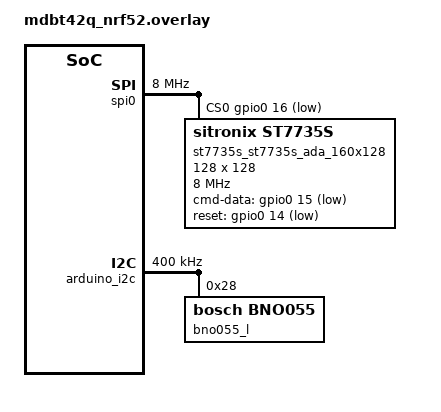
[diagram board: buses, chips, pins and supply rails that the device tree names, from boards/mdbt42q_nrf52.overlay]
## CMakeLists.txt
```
#-------------------------------------------------------------------------------
# Zephyr Example Application
#
# Copyright (c) 2021 Nordic Semiconductor ASA
# SPDX-License-Identifier: Apache-2.0

cmake_minimum_required(VERSION 3.13.1)
find_package(Zephyr REQUIRED HINTS $ENV{ZEPHYR_BASE})

project(app LANGUAGES C)

target_sources(app PRIVATE src/main.c)

#set(LVGL_DIR ${ZEPHYR_LVGL_MODULE_DIR})
```

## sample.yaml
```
# This file is provided so that the application can be compiled using Twister,
# the Zephyr testing tool. In this file, multiple combinations can be specified,
# so that you can easily test all of them locally or in CI.
sample:
  description: HUD application
  name: hud-nordic 
common:
  build_only: true
  integration_platforms:
    - mdbt42q_nrf52
  # modules:
  #   - lvgl
tests:
  app.default: {}
  # app.debug:
  #   extra_overlay_confs:
  #     - debug.conf
```

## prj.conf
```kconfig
# Copyright (c) 2021 Nordic Semiconductor ASA
# SPDX-License-Identifier: Apache-2.0
#
# This file contains selected Kconfig options for the application.
CONFIG_BOARD_ENABLE_DCDC=n
CONFIG_CLOCK_CONTROL_NRF_K32SRC_RC=y
# 500PPM enabled by default if RC selected
#CONFIG_CLOCK_CONTROL_NRF_K32SRC_500PPM=y

#CONFIG_GPIO = y

# Enable System reboot functionality
CONFIG_REBOOT=y

# CONFIG_LOG=y
# CONFIG_APP_LOG_LEVEL_DBG=y
# CONFIG_SERIAL=y
# CONFIG_CONSOLE=y
# CONFIG_UART_CONSOLE=y

CONFIG_DEBUG=y

#16384 8192
CONFIG_MAIN_STACK_SIZE=2048
CONFIG_SYSTEM_WORKQUEUE_STACK_SIZE=2048

#CONFIG_SENSOR=y
#CONFIG_BLINK=y
CONFIG_I2C=y
CONFIG_SENSOR=y
CONFIG_BNO055=y

CONFIG_SPI=y
CONFIG_SPI_SLAVE=n

CONFIG_SPI_NRFX=y

CONFIG_ST7735S=y
CONFIG_DISPLAY=y

CONFIG_LV_CONF_MINIMAL=y
CONFIG_LVGL=y
#CONFIG_LV_Z_BITS_PER_PIXEL=16

CONFIG_LV_MEM_CUSTOM=y
#2048 default 8192 16384
CONFIG_LV_Z_MEM_POOL_SIZE=4096

#CONFIG_LV_USE_LOG=y
CONFIG_LV_USE_LABEL=y
CONFIG_LV_USE_LINE=y
#CONFIG_LV_FONT_MONTSERRAT_24=y
#CONFIG_LV_FONT_DEFAULT_MONTSERRAT_24=y
CONFIG_LV_FONT_MONTSERRAT_14=y
CONFIG_LV_FONT_DEFAULT_MONTSERRAT_14=y
CONFIG_LV_DISP_DEF_REFR_PERIOD=50
#CONFIG_LV_COLOR_DEPTH=32
CONFIG_LV_USE_CANVAS=y
#CONFIG_LV_MEM_SIZE=(48U * 1024U)
#CONFIG_LV_USE_LOG=y
#CONFIG_LV_LOG_LEVEL_INFO=y

CONFIG_LV_COMPASS=y
#CONFIG_LV_COMPASS_GET_VALUE_DEFAULT=44

CONFIG_LV_PITCH_LADDER=y
```

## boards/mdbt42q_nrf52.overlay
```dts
/*
 * Copyright (c) 2021 Nordic Semiconductor ASA
 * SPDX-License-Identifier: Apache-2.0
 */

/* This devicetree overlay file will be automatically picked by the Zephyr
 * build system when building the sample for the mdbt42q board. It shows
 * how the example-application can be built on sample boards already provided
 * by Zephyr.
 */
/*
 / {
	chosen {
		zephyr,display = &st7735r_st7735r_ada_160x128;
	};
 };

&spi0 {
	cs-gpios = <&gpio0 16 GPIO_ACTIVE_LOW>;
	clock-frequency = <DT_FREQ_M(3)>;
	st7735r_st7735r_ada_160x128: st7735r@0 {
		compatible = "sitronix,st7735r";
		spi-max-frequency = <DT_FREQ_M(3)>;
		cmd-data-gpios = <&gpio0 15 GPIO_ACTIVE_LOW>;
		reset-gpios = <&gpio0 14 GPIO_ACTIVE_LOW>;
		reg = <0>;
		width = <128>;
		height = <128>;
	};
};
*/
//#include <zephyr/dt-bindings/mipi_dbi/mipi_dbi.h>
/*
/ {
	chosen {
		zephyr,display = &st7735r_st7735r_ada_160x128;
	};
};

arduino_spi: &spi0 {
	compatible = "nordic,nrf-spi";
	//compatible = "nordic,nrf-spim";
	status = "okay";
	cs-gpios = <&gpio0 16 GPIO_ACTIVE_LOW>;
	clock-frequency = <DT_FREQ_M(3)>;
	st7735r_st7735r_ada_160x128: st7735r@0 {
		compatible = "sitronix,st7735r";
		status = "okay";
		spi-max-frequency = <DT_FREQ_M(3)>;
		reg = <0>;
		cmd-data-gpios = <&gpio0 15 GPIO_ACTIVE_LOW>;
		reset-gpios = <&gpio0 14 GPIO_ACTIVE_LOW>;
		width = <128>;
		height = <128>;
	};
};
*/
// &arduino_spi {
// 	status = "okay";
// 	cs-gpios = <&gpio0 16 GPIO_ACTIVE_LOW>;
// 	clock-frequency = <DT_FREQ_M(3)>;
// };
/*
#include <zephyr/dt-bindings/mipi_dbi/mipi_dbi.h>

{
	chosen {
		zephyr,display = &st7735r_st7735r_ada_160x128;
	};

	mipi_dbi {
		compatible = "zephyr,mipi-dbi-spi";
		reset-gpios = <&gpio0 15 GPIO_ACTIVE_LOW>;
		dc-gpios = <&gpio0 14 GPIO_ACTIVE_LOW>;
		spi-dev = <&spi0>;
		#address-cells = <1>;
		#size-cells = <0>;
	
		st7735r: st7735r@0 {
			compatible = "sitronix,st7735r";
			reg = <0>;
			mipi-max-frequency = <DT_FREQ_M(3)>;
			mipi-mode = <MIPI_DBI_MODE_SPI_4WIRE>;
			width = <128>;
			height = <128>;
		};
	};

};

arduino_spi: &spi0 {
	compatible = "nordic,nrf-spi";

	status = "okay";
	clock-frequency = <DT_FREQ_M(3)>;
	pinctrl-0 = <&spi0_default>;
	pinctrl-1 = <&spi0_sleep>;
	pinctrl-names = "default", "sleep";
};
*/
/*
#include <zephyr/dt-bindings/mipi_dbi/mipi_dbi.h>

/ {
	chosen {
		zephyr,display = &st7735r_st7735r_ada_160x128;
	};

	mipi_dbi_st7735r_ada_160x128 {
		compatible = "zephyr,mipi-dbi-spi";
		spi-dev = <&arduino_spi>;
		dc-gpios = <&gpio0 15 GPIO_ACTIVE_LOW>;
		reset-gpios = <&gpio0 14 GPIO_ACTIVE_LOW>;
		#address-cells = <1>;
		#size-cells = <0>;

		st7735r_st7735r_ada_160x128: st7735r@0 {
			compatible = "sitronix,st7735r";
			mipi-max-frequency = <3000000>;
			mipi-mode = <MIPI_DBI_MODE_SPI_4WIRE>;
			// cmd-data-gpios = <&gpio0 15 GPIO_ACTIVE_LOW>;
			// reset-gpios = <&gpio0 14 GPIO_ACTIVE_LOW>;
			reg = <0>;
			width = <128>;
			height = <128>;
			x-offset = <0>;
			y-offset = <0>;
			madctl = <0x60>;
			colmod = <0x55>;
			vmctr1 = <0x0e>;
			pwctr1 = [a2 02 84];
			pwctr2 = [c5];
			pwctr3 = [0a 00];
			pwctr4 = [8a 2a];
			pwctr5 = [8a ee];
			frmctr1 = [01 2c 2d];
			frmctr2 = [01 2c 2d];
			frmctr3 = [01 2c 2d 01 2c 2d];
			gamctrp1 = [02 1c 07 12 37 32 29 2d 29 25 2b 39 00 01 03 10];
			gamctrn1 = [03 1d 07 06 2e 2c 29 2d 2e 2e 37 3f 00 00 02 10];
		};
	};
};

&arduino_spi {
	status = "okay";
	clock-frequency = <DT_FREQ_M(3)>;
	cs-gpios = <&gpio0 16 GPIO_ACTIVE_LOW>;
};*/

/ {
	chosen {
		zephyr,display = &st7735s_st7735s_ada_160x128;
	};
 };

 arduino_spi: &spi0 {
	cs-gpios = <&gpio0 16 GPIO_ACTIVE_LOW>;
	clock-frequency = <DT_FREQ_M(8)>;
	st7735s_st7735s_ada_160x128: st7735s@0 {
		compatible = "sitronix,st7735s";
		spi-max-frequency = <DT_FREQ_M(8)>;
		cmd-data-gpios = <&gpio0 15 GPIO_ACTIVE_LOW>;
		reset-gpios = <&gpio0 14 GPIO_ACTIVE_LOW>;
		width = <128>;
		height = <128>;
		reg = <0>;
		x-offset = <0>;
		y-offset = <0>;
		madctl = <0x60>;
		colmod = <0x55>;
		vmctr1 = <0x0e>;
		pwctr1 = [a2 02 84];
		pwctr2 = [c5];
		pwctr3 = [0a 00];
		pwctr4 = [8a 2a];
		pwctr5 = [8a ee];
		frmctr1 = [01 2c 2d];
		frmctr2 = [01 2c 2d];
		frmctr3 = [01 2c 2d 01 2c 2d];
		gamctrp1 = [02 1c 07 12 37 32 29 2d 29 25 2b 39 00 01 03 10];
		gamctrn1 = [03 1d 07 06 2e 2c 29 2d 2e 2e 37 3f 00 00 02 10];
	};

	/*blink-gpio-led {
        compatible = "blink-gpio-led";
        led-gpios = <&gpio0 2 GPIO_ACTIVE_LOW>;
		blink-period-ms = <1000>;
    };*/
};

&st7735s_st7735s_ada_160x128 {
	spi-max-frequency = <DT_FREQ_M(8)>;
};

&arduino_i2c {
	//compatible = "nordic,nrf-twi";
	status = "okay";
	clock-frequency = <I2C_BITRATE_FAST>;
	//zephyr,concat-buf-size = <128>;
	bno055_l: bno055@28 {
		compatible = "bosch,bno055";
		reg = <0x28>;
		status = "okay";
	};
};

/*&arduino_i2c {
	compatible = "nordic,nrf-twi";
	status = "okay";
	clock-frequency = <I2C_BITRATE_FAST>;
	bmi055_g: bmi055-g@28 {
		compatible = "bosch,bmi05x-gyro";
		reg = <0x28>;
		status = "okay";
		gyro-fs = <2000>;
		gyro-hz = "400_47";
	};
};*/

/*&arduino_i2c {
	status = "okay";

	bno055@68 {
		compatible = "bosch,bno055";
		reg = <0x68>;
	};
};*/
```

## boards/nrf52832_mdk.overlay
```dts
// arduino_i2c: &i2c1 {
// 	compatible = "nordic,nrf-twi";
// 	status = "okay";
// 	clock-frequency = <I2C_BITRATE_FAST>;
// };

/* 
/ {
	chosen {
		zephyr,display = &st7735r_st7735r_ada_160x128;
	};
};
*/

/*
&pinctrl {
	spi0_default: spi0_default {
		group1 {
			psels = <NRF_PSEL(SPIM_SCK, 0, 26)>,
				<NRF_PSEL(SPIM_MOSI, 0, 27)>,
				<NRF_PSEL(SPIM_MISO, 0, 28)>;
		};
	};

	spi0_sleep: spi0_sleep {
		group1 {
			psels = <NRF_PSEL(SPIM_SCK, 0, 26)>,
				<NRF_PSEL(SPIM_MOSI, 0, 27)>,
				<NRF_PSEL(SPIM_MISO, 0, 28)>;
			low-power-enable;
		};
	};
};
*/
/*
arduino_spi: &spi0 {
//&spi0 {
	compatible = "nordic,nrf-spim";
	status = "okay";
	pinctrl-0 = <&spi0_default>;
	pinctrl-1 = <&spi0_sleep>;
	cs-gpios = <&gpio0 16 GPIO_ACTIVE_LOW>;
	pinctrl-names = "default", "sleep";
	
	st7735r: st7735r@0 {
		compatible = "sitronix,st7735r";
		spi-max-frequency = <20000000>;
		reg = <0>;
		cmd-data-gpios = <&gpio0 15 GPIO_ACTIVE_LOW>;	
		reset-gpios = <&gpio0 14 GPIO_ACTIVE_LOW>;	
		width = <160>;
		height = <80>;
		x-offset = <0>;
		y-offset = <0>;
		madctl = <0x60>;
		colmod = <0x55>;
		vmctr1 = <0x0e>;
		pwctr1 = [a2 02 84];
		pwctr2 = [c5];
		pwctr3 = [0a 00];
		pwctr4 = [8a 2a];
		pwctr5 = [8a ee];
		frmctr1 = [01 2c 2d];
		frmctr2 = [01 2c 2d];
		frmctr3 = [01 2c 2d 01 2c 2d];
		gamctrp1 = [02 1c 07 12 37 32 29 2d 29 25 2b 39 00 01 03 10];
		gamctrn1 = [03 1d 07 06 2e 2c 29 2d 2e 2e 37 3f 00 00 02 10];
	};


};

*/


// arduino_spi: &spi0 {
// 	compatible = "nordic,nrf-spim";
// 	status = "okay";
// 	pinctrl-0 = <&spi0_default>;
// 	pinctrl-1 = <&spi0_sleep>;
// 	cs-gpios = <&gpio0 25 GPIO_ACTIVE_LOW>;
// 	pinctrl-names = "default", "sleep";
	
// 	st7735r_st7735r_ada_160x128: st7735r@0 {
// 		compatible = "sitronix,st7735r";
// 		spi-max-frequency = <20000000>;
// 		reg = <0>;
// 		cmd-data-gpios = <&arduino_header 15 GPIO_ACTIVE_LOW>;	/* D9 */
// 		reset-gpios = <&arduino_header 14 GPIO_ACTIVE_LOW>;	/* D8 */
// 		width = <128>;
// 		height = <128>;
// 		x-offset = <0>;
// 		y-offset = <0>;
// 		madctl = <0x60>;
// 		colmod = <0x55>;
// 		vmctr1 = <0x0e>;
// 		pwctr1 = [a2 02 84];
// 		pwctr2 = [c5];
// 		pwctr3 = [0a 00];
// 		pwctr4 = [8a 2a];
// 		pwctr5 = [8a ee];
// 		frmctr1 = [01 2c 2d];
// 		frmctr2 = [01 2c 2d];
// 		frmctr3 = [01 2c 2d 01 2c 2d];
// 		gamctrp1 = [02 1c 07 12 37 32 29 2d 29 25 2b 39 00 01 03 10];
// 		gamctrn1 = [03 1d 07 06 2e 2c 29 2d 2e 2e 37 3f 00 00 02 10];
// 	};

// };

/ {
	chosen {
		zephyr,display = &st7735r_st7735r_ada_160x128;
	};
 };

&spi0 {
	//cs-gpios = <&arduino_header 16 GPIO_ACTIVE_LOW>;
	cs-gpios = <&gpio0 16 GPIO_ACTIVE_LOW>;
	clock-frequency = <DT_FREQ_M(3)>;
	st7735r_st7735r_ada_160x128: st7735r@0 {
		compatible = "sitronix,st7735r";
		spi-max-frequency = <DT_FREQ_M(3)>;
		cmd-data-gpios = <&gpio0 15 GPIO_ACTIVE_LOW>;
		reset-gpios = <&gpio0 14 GPIO_ACTIVE_LOW>;
		width = <128>;
		height = <128>;
	};
};

&st7735r_st7735r_ada_160x128 {
	spi-max-frequency = <DT_FREQ_M(3)>;
	//clock-frequency = <DT_FREQ_M(8)>;
};

&arduino_i2c {
	compatible = "nordic,nrf-twi";
	status = "okay";
	clock-frequency = <I2C_BITRATE_FAST>;
	bmi088_g: bmi088-g@28 {
		compatible = "bosch,bmi08x-gyro";
		reg = <0x28>;
		status = "okay";
		gyro-fs = <2000>;
		gyro-hz = "400_47";
	};
};
```

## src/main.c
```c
/*
MIT License

Copyright (c) 2024 kristosb

Permission is hereby granted, free of charge, to any person obtaining a copy
of this software and associated documentation files (the "Software"), to deal
in the Software without restriction, including without limitation the rights
to use, copy, modify, merge, publish, distribute, sublicense, and/or sell
copies of the Software, and to permit persons to whom the Software is
furnished to do so, subject to the following conditions:

The above copyright notice and this permission notice shall be included in all
copies or substantial portions of the Software.

THE SOFTWARE IS PROVIDED "AS IS", WITHOUT WARRANTY OF ANY KIND, EXPRESS OR
IMPLIED, INCLUDING BUT NOT LIMITED TO THE WARRANTIES OF MERCHANTABILITY,
FITNESS FOR A PARTICULAR PURPOSE AND NONINFRINGEMENT. IN NO EVENT SHALL THE
AUTHORS OR COPYRIGHT HOLDERS BE LIABLE FOR ANY CLAIM, DAMAGES OR OTHER
LIABILITY, WHETHER IN AN ACTION OF CONTRACT, TORT OR OTHERWISE, ARISING FROM,
OUT OF OR IN CONNECTION WITH THE SOFTWARE OR THE USE OR OTHER DEALINGS IN THE
SOFTWARE.
 */ 
#include <zephyr/kernel.h>
#include <zephyr/device.h>
#include <zephyr/devicetree.h>
#include <zephyr/drivers/gpio.h>
#include <zephyr/drivers/sensor.h>
#include <zephyr/drivers/display.h>
#include <zephyr/logging/log.h>
#include <stdio.h>
#include <string.h>
#include <lvgl.h>
//#include <app/drivers/blink.h>
#include <app/lib/lv_compass.h>
#include <app/lib/lv_pitch_ladder.h>
#include <app_version.h>

LOG_MODULE_REGISTER(main, CONFIG_APP_LOG_LEVEL);

/*********************
 *      DEFINES
 *********************/
#define SENS_STACKSIZE 1024
#define DISP_STACKSIZE 8192
#define PRIORITY 7
#define SENSING_SLEEP_MS 100
#define DISPLAY_SLEEP_MS 101
K_MUTEX_DEFINE(gyro_data_mutex);
/**********************
 *      TYPEDEFS
 **********************/
typedef enum {
  LIGHT,
  DARK,
} screen_style_t;

typedef struct {
    lv_obj_t     ** object; 
    short         * value;
    short           step;
    short           max;
    short           min;
} param_t;

typedef struct {
    lv_obj_t * screen;
    int        count;
    param_t  * params;
} screens_t;

static lv_obj_t   * compass_obj;
static lv_obj_t   * pitch_ladder_obj;
static short        compass_value;
static short        pitch_ladder_pitch;
static param_t screen0_elements [] = {
	{ .object = &compass_obj,  .value = &compass_value, .step = 1, .max = 360, .min = 0},
	{ .object = &pitch_ladder_obj,  .value = &pitch_ladder_pitch, .step = 1, .max = 360, .min = 0}
};
static screens_t screens [] = {
    { .screen = NULL, .count = 1, .params = screen0_elements }
};

struct sensor_value gyr[3];

/**********************
 * GLOBAL PROTOTYPES
 **********************/
void read_gyro_data(const struct device * gyro_dev);
void display_gyro_data(void);
void hud_set_type(screen_style_t style);
void hud_set_line_width(lv_coord_t width);
int sensing(void);
int display(void);
/*=====================
 *  Functions
 *====================*/
void read_gyro_data(const struct device * gyro_dev)
{
	k_mutex_lock(&gyro_data_mutex, K_FOREVER);
	sensor_sample_fetch(gyro_dev);
	sensor_channel_get(gyro_dev, SENSOR_CHAN_GYRO_XYZ, gyr);
	k_mutex_unlock(&gyro_data_mutex);
}
void display_gyro_data(void)
{
	k_mutex_lock(&gyro_data_mutex, K_FOREVER);
	//printk("Roll %d pitch %d \n", gyr[2].val1*10, gyr[1].val1);
	lv_pitch_ladder_set_angles(pitch_ladder_obj, gyr[1].val1 , gyr[2].val1*10);
	lv_compass_angle(compass_obj, gyr[0].val1);
	k_mutex_unlock(&gyro_data_mutex);
}
void hud_set_type(screen_style_t style){
	if(style == DARK){
		lv_obj_set_style_bg_opa(lv_scr_act(), LV_OPA_COVER, LV_PART_MAIN);
		lv_obj_set_style_bg_color(lv_scr_act(), lv_color_black(), LV_PART_MAIN);
		lv_pitch_ladder_set_dark_style(pitch_ladder_obj);
		lv_compass_set_dark_style(compass_obj);
	}else{
		lv_pitch_ladder_set_light_style(pitch_ladder_obj);
		lv_compass_set_light_style(compass_obj);
	}
}
void hud_set_line_width(lv_coord_t width)
{
	lv_compass_set_line_width(compass_obj, 2);
	lv_pitch_ladder_set_line_width(pitch_ladder_obj, 2);
}
int sensing(void)
{
	const struct device *gyro_dev = DEVICE_DT_GET(DT_NODELABEL(bno055_l));
	//k_msleep(500);
	//printk("sensing begin\n");
	if (!device_is_ready(gyro_dev)) {
		//printk("Device %s is not ready\n", gyro_dev->name);
		return 0;
	}
	while (1) {
		k_msleep(SENSING_SLEEP_MS);
		read_gyro_data(gyro_dev);
	}
}
int display(void)
{
	const struct device *display_dev = DEVICE_DT_GET(DT_CHOSEN(zephyr_display));
	printk("Zephyr tinyHUD Application %s\n", APP_VERSION_STRING);
    if (display_dev == NULL) {
        LOG_ERR("Display device not found.");
        return 0;
    }
	
    screens[0].screen = lv_obj_create(NULL);
	//printk("Screen size: %d, %d", lv_obj_get_height(screens[0].screen), lv_obj_get_width(screens[0].screen));
	lv_scr_load(screens[0].screen);

	pitch_ladder_obj = lv_pitch_ladder_create(lv_scr_act());
	compass_obj = lv_compass_create(lv_scr_act());

	hud_set_type(DARK);
	hud_set_line_width(2);

	//display_set_brightness(display_dev, 255);
	//display_set_orientation(display_dev, DISPLAY_ORIENTATION_ROTATED_90);
	display_blanking_off(display_dev);

	while (1) {
		display_gyro_data();
		lv_task_handler();
		k_msleep(DISPLAY_SLEEP_MS);
	}
}

K_THREAD_DEFINE(sensing_id, SENS_STACKSIZE, sensing, NULL, NULL, NULL, PRIORITY, 0, 500);
K_THREAD_DEFINE(display_id, DISP_STACKSIZE, display, NULL, NULL, NULL, PRIORITY, 0, 500);
```

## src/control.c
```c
#include <zephyr/kernel.h> 
#include <zephyr/device.h>
#include <zephyr/devicetree.h>
#include <zephyr/drivers/gpio.h>
#include <zephyr/drivers/display.h>
#include <zephyr/drivers/sensor.h>
#include <stdio.h>
#include <string.h>
#include <lvgl.h>

#include "control.h"

#include <zephyr/logging/log.h>

//#include <app/drivers/sensor/bmi05x.h>

#define TICK_PERIOD   (1000)

#define LED0_NODE	DT_ALIAS(led0)
static const struct gpio_dt_spec led = GPIO_DT_SPEC_GET(LED0_NODE, gpios);
const struct device *display_dev = DEVICE_DT_GET(DT_CHOSEN(zephyr_display));

const struct device *const dev = DEVICE_DT_GET(DT_NODELABEL(bmi088_g));

struct sensor_value acc[3], gyr[3];
// #define SW0_NODE	DT_ALIAS(sw0) 
// static const struct gpio_dt_spec button = GPIO_DT_SPEC_GET(SW0_NODE, gpios);

//static struct gpio_callback button_cb_data;

typedef struct {
    lv_obj_t     ** object; 
    short         * value;
    short           step;
    short           max;
    short           min;
} param_t;

typedef struct {
    lv_obj_t * screen;
    int        count;
    param_t  * params;
} screens_t;


static lv_obj_t   * screen0_label_obj;
static lv_obj_t   * screen0_x_obj;
static lv_obj_t   * screen0_y_obj;
static short        screen0_label_value;
static short        screen0_x_value;
static short        screen0_y_value;
static param_t screen0_elements [] = {
    { .object = &screen0_label_obj,  .value = &screen0_label_value, .step = 5, .max = 150, .min = 0},
	{ .object = &screen0_x_obj,  .value = &screen0_x_value, .step = 5, .max = 150, .min = 0},
	{ .object = &screen0_y_obj,  .value = &screen0_y_value, .step = 5, .max = 150, .min = 0},
};
static screens_t screens [] = {
    { .screen = NULL, .count = 1, .params = screen0_elements }
};



void display_timer_handler(struct k_timer * timer);
void control_task_handler(struct k_work * work);

K_TIMER_DEFINE(control_timer, display_timer_handler, NULL);
K_WORK_DEFINE(control_work, control_task_handler);

void display_timer_handler(struct k_timer * timer)
{
    k_work_submit(&control_work);
}

void control_task_handler(struct k_work * work)
{  
	static int screen_id = 0;
    static int param_id  = 0;
    //static short num_val = 0;  

    gpio_pin_toggle_dt(&led);

    screen0_label_value += 5;
    if(screen0_label_value > 120) screen0_label_value = 0;
	screen0_x_value +=1;
	screen0_y_value -=1;

	//sensor_sample_fetch(dev);

	//sensor_channel_get(dev, SENSOR_CHAN_ACCEL_XYZ, acc);
	// sensor_channel_get(dev, SENSOR_CHAN_GYRO_XYZ, gyr);
	// screen0_x_value = (short) gyr[0].val1;
	// screen0_y_value = (short) gyr[0].val2;

    numeric_param_update(screen_id, 0, screen0_label_value, "x: %d");
	numeric_param_update(screen_id, 1, screen0_x_value, "y: %d");
	numeric_param_update(screen_id, 2, screen0_y_value, "z: %d");

	lv_task_handler();
}

void display_screens_init(void)
{
    screens[0].screen = lv_obj_create(NULL);
    static lv_style_t style_main;
    static lv_style_t style_indicator;

    lv_style_init(&style_main);
    lv_style_set_text_color(&style_main, lv_color_black());
    lv_style_set_bg_color(&style_main, lv_color_white());

    lv_style_init(&style_indicator);
    lv_style_set_text_color(&style_indicator, lv_color_white());
    lv_style_set_bg_color(&style_indicator, lv_color_black());
    lv_style_set_border_width(&style_indicator, 2);
    lv_style_set_radius(&style_indicator, LV_RADIUS_CIRCLE);

	lv_scr_load(screens[0].screen);
    
	lv_obj_t *hello_world_label = lv_label_create(lv_scr_act());
	lv_label_set_text(hello_world_label, "WIKTOR");
	lv_obj_align_to(hello_world_label, screens[0].screen, LV_ALIGN_TOP_RIGHT, 0, 0);

	screen0_label_obj = lv_label_create(lv_scr_act());
	lv_label_set_text(screen0_label_obj, "11");
	lv_obj_align_to(screen0_label_obj, NULL, LV_ALIGN_LEFT_MID, 0, -20);
	screen0_label_value = 55;

	screen0_x_obj = lv_label_create(lv_scr_act());
	lv_label_set_text(screen0_x_obj, "22");
	lv_obj_align_to(screen0_x_obj, NULL, LV_ALIGN_LEFT_MID, 0, 0);
	screen0_x_value = 22;

	screen0_y_obj = lv_label_create(lv_scr_act());
	lv_label_set_text(screen0_y_obj, "33");
	lv_obj_align_to(screen0_y_obj, NULL, LV_ALIGN_LEFT_MID, 0, 20);
	screen0_y_value = 33;

}
void numeric_param_update(int screen_id, int param_id, short value, const char *format)
{
    param_t * param = &screens[screen_id].params[param_id];
	//char result[20];
    if (param == NULL || *param->object == NULL)
        return;

    /*if (value <= param->min)  *param->value = param->min;
    else if ( value >  param->max)  *param->value = param->max; 
         else *param->value = value;*/

    if (lv_obj_check_type(*param->object, &lv_label_class)) {
		lv_label_set_text_fmt(*param->object, format, *param->value); //"X%d: %d"
        //LOG_INF("%s: value %d", __func__, lv_slider_get_value(*param->object));
        return;
    }
}

int control_init(void)
{
	struct sensor_value full_scale, sampling_freq, oversampling;

	/*if (!device_is_ready(dev)) {
		//printf("Device %s is not ready\n", dev->name);
		return 0;
	}*/

	//const struct device *display_dev = device_get_binding(DT_NODE_FULL_NAME(DT_CHOSEN(zephyr_display)));
	
	//const struct device *display_dev = DEVICE_DT_GET(DT_NODELABEL(st7735r_st7735r_ada_160x128));
    int ret = 0;
    if (!device_is_ready(led.port)) {
        return 0;
	}

	/*if (!device_is_ready(button.port)) {
		return 0;
	}*/
	ret = gpio_pin_configure_dt(&led, GPIO_OUTPUT_ACTIVE);
	if (ret < 0) {
		return 0;
	}

	/*ret = gpio_pin_configure_dt(&button, GPIO_INPUT);
	if (ret < 0) {
		return 0;
	}

	ret = gpio_pin_interrupt_configure_dt(&button, GPIO_INT_EDGE_TO_ACTIVE );
*/

    if (display_dev == NULL) {
        //LOG_ERR("Display device not found.");
        return -1;
    }

	/*full_scale.val1 = 2;           
	full_scale.val2 = 0;
	sampling_freq.val1 = 100;       
	sampling_freq.val2 = 0;
	oversampling.val1 = 1;          
	oversampling.val2 = 0;

	sensor_attr_set(dev, SENSOR_CHAN_ACCEL_XYZ, SENSOR_ATTR_FULL_SCALE,
			&full_scale);
	sensor_attr_set(dev, SENSOR_CHAN_ACCEL_XYZ, SENSOR_ATTR_OVERSAMPLING,
			&oversampling);

	sensor_attr_set(dev, SENSOR_CHAN_ACCEL_XYZ,
			SENSOR_ATTR_SAMPLING_FREQUENCY,
			&sampling_freq);

	full_scale.val1 = 500;        
	full_scale.val2 = 0;
	sampling_freq.val1 = 100;       
	sampling_freq.val2 = 0;
	oversampling.val1 = 1;          
	oversampling.val2 = 0;

	sensor_attr_set(dev, SENSOR_CHAN_GYRO_XYZ, SENSOR_ATTR_FULL_SCALE,
			&full_scale);
	sensor_attr_set(dev, SENSOR_CHAN_GYRO_XYZ, SENSOR_ATTR_OVERSAMPLING,
			&oversampling);
	sensor_attr_set(dev, SENSOR_CHAN_GYRO_XYZ,
			SENSOR_ATTR_SAMPLING_FREQUENCY,
			&sampling_freq);
*/

    display_screens_init();
    lv_scr_load(screens[0].screen);

	display_blanking_off(display_dev);

    //LOG_INF("Display device init");

    k_timer_start(&control_timer, K_MSEC(TICK_PERIOD), K_MSEC(TICK_PERIOD));

    return 0;
}
```

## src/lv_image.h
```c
/**
 * @file lv_img.h
 *
 */

#ifndef LV_IMAGE_H
#define LV_IMAGE_H

#ifdef __cplusplus
extern "C" {
#endif

#define LV_USE_IMAGE = 1
#define LV_USE_LABEL = 1
/*********************
 *      INCLUDES
 *********************/
// #include "../../lv_conf_internal.h"
#include <lv_conf_internal.h>

#if LV_USE_IMAGE != 0

/*Testing of dependencies*/
#if LV_USE_LABEL == 0
#error "lv_img: lv_label is required. Enable it in lv_conf.h (LV_USE_LABEL 1)"
#endif

// #include "../../core/lv_obj.h"
// #include "../../misc/lv_fs.h"
// #include "../../draw/lv_draw.h"

#include <core/lv_obj.h>
#include <misc/lv_fs.h>
#include <draw/lv_draw.h>

/*********************
 *      DEFINES
 *********************/

/**********************
 *      TYPEDEFS
 **********************/

/**
 * Data of image
 */
typedef struct {
    lv_obj_t obj;
    const void * src;   /**< Image source: Pointer to an array or a file or a symbol*/
    const lv_image_dsc_t * bitmap_mask_src; /**< Pointer to an A8 bitmap mask */
    lv_point_t offset;
    int32_t w;          /**< Width of the image (Handled by the library)*/
    int32_t h;          /**< Height of the image (Handled by the library)*/
    uint32_t rotation;    /**< Rotation angle of the image*/
    uint32_t scale_x;      /**< 256 means no zoom, 512 double size, 128 half size*/
    uint32_t scale_y;      /**< 256 means no zoom, 512 double size, 128 half size*/
    lv_point_t pivot;     /**< Rotation center of the image*/
    uint32_t src_type : 2;  /**< See: lv_image_src_t*/
    uint32_t cf : 5;        /**< Color format from `lv_color_format_t`*/
    uint32_t antialias : 1; /**< Apply anti-aliasing in transformations (rotate, zoom)*/
    uint32_t align: 4;   /**< Image size mode when image size and object size is different. See `lv_image_align_t`*/
    uint32_t blend_mode: 4;   /**< Element of `lv_blend_mode_t`*/
} lv_image_t;

LV_ATTRIBUTE_EXTERN_DATA extern const lv_obj_class_t lv_image_class;

/**
 * Image size mode, when image size and object size is different
 */
enum _lv_image_align_t {
    LV_IMAGE_ALIGN_DEFAULT = 0,
    LV_IMAGE_ALIGN_TOP_LEFT,
    LV_IMAGE_ALIGN_TOP_MID,
    LV_IMAGE_ALIGN_TOP_RIGHT,
    LV_IMAGE_ALIGN_BOTTOM_LEFT,
    LV_IMAGE_ALIGN_BOTTOM_MID,
    LV_IMAGE_ALIGN_BOTTOM_RIGHT,
    LV_IMAGE_ALIGN_LEFT_MID,
    LV_IMAGE_ALIGN_RIGHT_MID,
    LV_IMAGE_ALIGN_CENTER,
    _LV_IMAGE_ALIGN_AUTO_TRANSFORM,
    LV_IMAGE_ALIGN_STRETCH,
    LV_IMAGE_ALIGN_TILE,
};

#ifdef DOXYGEN
typedef _lv_image_align_t lv_image_align_t;
#else
typedef uint8_t lv_image_align_t;
#endif /*DOXYGEN*/

#if LV_USE_OBJ_PROPERTY
enum {
    LV_PROPERTY_ID(IMAGE, SRC,        LV_PROPERTY_TYPE_IMGSRC,    0),
    LV_PROPERTY_ID(IMAGE, OFFSET_X,   LV_PROPERTY_TYPE_INT,       1),
    LV_PROPERTY_ID(IMAGE, OFFSET_Y,   LV_PROPERTY_TYPE_INT,       2),
    LV_PROPERTY_ID(IMAGE, ROTATION,   LV_PROPERTY_TYPE_INT,       3),
    LV_PROPERTY_ID(IMAGE, PIVOT,      LV_PROPERTY_TYPE_POINT,     4),
    LV_PROPERTY_ID(IMAGE, SCALE,      LV_PROPERTY_TYPE_INT,       5),
    LV_PROPERTY_ID(IMAGE, SCALE_X,    LV_PROPERTY_TYPE_INT,       6),
    LV_PROPERTY_ID(IMAGE, SCALE_Y,    LV_PROPERTY_TYPE_INT,       7),
    LV_PROPERTY_ID(IMAGE, BLEND_MODE, LV_PROPERTY_TYPE_INT,       8),
    LV_PROPERTY_ID(IMAGE, ANTIALIAS,  LV_PROPERTY_TYPE_INT,       9),
    LV_PROPERTY_ID(IMAGE, ALIGN,      LV_PROPERTY_TYPE_INT,       10),
    LV_PROPERTY_IMAGE_END,
};
#endif

/**********************
 * GLOBAL PROTOTYPES
 **********************/

/**
 * Create an image object
 * @param parent pointer to an object, it will be the parent of the new image
 * @return pointer to the created image
 */
lv_obj_t * lv_image_create(lv_obj_t * parent);

/*=====================
 * Setter functions
 *====================*/

/**
 * Set the image data to display on the object
 * @param obj       pointer to an image object
 * @param src       1) pointer to an ::lv_image_dsc_t descriptor (converted by LVGL's image converter) (e.g. &my_img) or
 *                  2) path to an image file (e.g. "S:/dir/img.bin")or
 *                  3) a SYMBOL (e.g. LV_SYMBOL_OK)
 */
void lv_image_set_src(lv_obj_t * obj, const void * src);

/**
 * Set an offset for the source of an image so the image will be displayed from the new origin.
 * @param obj       pointer to an image
 * @param x         the new offset along x axis.
 */
void lv_image_set_offset_x(lv_obj_t * obj, int32_t x);

/**
 * Set an offset for the source of an image.
 * so the image will be displayed from the new origin.
 * @param obj       pointer to an image
 * @param y         the new offset along y axis.
 */
void lv_image_set_offset_y(lv_obj_t * obj, int32_t y);

/**
 * Set the rotation angle of the image.
 * The image will be rotated around the set pivot set by `lv_image_set_pivot()`
 * Note that indexed and alpha only images can't be transformed.
 * @param obj       pointer to an image object
 * @param angle     rotation in degree with 0.1 degree resolution (0..3600: clock wise)
 * @note            if image_align is `LV_IMAGE_ALIGN_STRETCH` or `LV_IMAGE_ALIGN_FIT`
 *                  rotation will be set to 0 automatically.
 *
 */
void lv_image_set_rotation(lv_obj_t * obj, int32_t angle);

/**
 * Set the rotation center of the image.
 * The image will be rotated around this point.
 * x, y can be set with value of LV_PCT, lv_image_get_pivot will return the true pixel coordinate of pivot in this case.
 * @param obj       pointer to an image object
 * @param x         rotation center x of the image
 * @param y         rotation center y of the image
 */
void lv_image_set_pivot(lv_obj_t * obj, int32_t x, int32_t y);

/**
 * Set pivot to accept lv_point_t * directly
 */
static inline void _lv_image_set_pivot(lv_obj_t * obj, lv_point_t * pivot)
{
    lv_image_set_pivot(obj, pivot->x, pivot->y);
}

/**
 * Set the zoom factor of the image.
 * Note that indexed and alpha only images can't be transformed.
 * @param img       pointer to an image object
 * @param zoom      the zoom factor.
 * @example 256 or LV_ZOOM_IMAGE_NONE for no zoom
 * @example <256: scale down
 * @example >256 scale up
 * @example 128 half size
 * @example 512 double size
 */
void lv_image_set_scale(lv_obj_t * obj, uint32_t zoom);

/**
 * Set the horizontal zoom factor of the image.
 * Note that indexed and alpha only images can't be transformed.
 * @param img       pointer to an image object
 * @param zoom      the zoom factor.
 * @example 256 or LV_ZOOM_IMAGE_NONE for no zoom
 * @example <256: scale down
 * @example >256 scale up
 * @example 128 half size
 * @example 512 double size
 */
void lv_image_set_scale_x(lv_obj_t * obj, uint32_t zoom);

/**
 * Set the vertical zoom factor of the image.
 * Note that indexed and alpha only images can't be transformed.
 * @param img       pointer to an image object
 * @param zoom      the zoom factor.
 * @example 256 or LV_ZOOM_IMAGE_NONE for no zoom
 * @example <256: scale down
 * @example >256 scale up
 * @example 128 half size
 * @example 512 double size
 */
void lv_image_set_scale_y(lv_obj_t * obj, uint32_t zoom);

/**
 * Set the blend mode of an image.
 * @param obj           pointer to an image object
 * @param blend_mode    the new blend mode
 */
void lv_image_set_blend_mode(lv_obj_t * obj, lv_blend_mode_t blend_mode);

/**
 * Enable/disable anti-aliasing for the transformations (rotate, zoom) or not.
 * The quality is better with anti-aliasing looks better but slower.
 * @param obj       pointer to an image object
 * @param antialias true: anti-aliased; false: not anti-aliased
 */
void lv_image_set_antialias(lv_obj_t * obj, bool antialias);

/**
 * Set the image object size mode.
 * @param obj       pointer to an image object
 * @param align     the new align mode.
 * @note            if image_align is `LV_IMAGE_ALIGN_STRETCH` or `LV_IMAGE_ALIGN_FIT`
 *                  rotation, scale and pivot will be overwritten and controlled internally.
 */
void lv_image_set_inner_align(lv_obj_t * obj, lv_image_align_t align);

/**
 * Set an A8 bitmap mask for the image.
 * @param obj       pointer to an image object
 * @param src       an lv_image_dsc_t bitmap mask source.
 */
void lv_image_set_bitmap_map_src(lv_obj_t * obj, const lv_image_dsc_t * src);

/*=====================
 * Getter functions
 *====================*/

/**
 * Get the source of the image
 * @param obj       pointer to an image object
 * @return          the image source (symbol, file name or ::lv-img_dsc_t for C arrays)
 */
const void * lv_image_get_src(lv_obj_t * obj);

/**
 * Get the offset's x attribute of the image object.
 * @param obj       pointer to an image
 * @return          offset X value.
 */
int32_t lv_image_get_offset_x(lv_obj_t * obj);

/**
 * Get the offset's y attribute of the image object.
 * @param obj       pointer to an image
 * @return          offset Y value.
 */
int32_t lv_image_get_offset_y(lv_obj_t * obj);

/**
 * Get the rotation of the image.
 * @param obj       pointer to an image object
 * @return          rotation in 0.1 degrees (0..3600)
 * @note            if image_align is `LV_IMAGE_ALIGN_STRETCH` or  `LV_IMAGE_ALIGN_FIT`
 *                  rotation will be set to 0 automatically.
 */
int32_t lv_image_get_rotation(lv_obj_t * obj);

/**
 * Get the pivot (rotation center) of the image.
 * If pivot is set with LV_PCT, convert it to px before return.
 * @param obj       pointer to an image object
 * @param pivot     store the rotation center here
 */
void lv_image_get_pivot(lv_obj_t * obj, lv_point_t * pivot);

/**
 * Get pivot to return lv_point_t directly
 */
static inline lv_point_t _lv_image_get_pivot(lv_obj_t * obj)
{
    lv_point_t pivot;
    lv_image_get_pivot(obj, &pivot);
    return pivot;
}

/**
 * Get the zoom factor of the image.
 * @param obj       pointer to an image object
 * @return          zoom factor (256: no zoom)
 */
int32_t lv_image_get_scale(lv_obj_t * obj);

/**
 * Get the horizontal zoom factor of the image.
 * @param obj       pointer to an image object
 * @return          zoom factor (256: no zoom)
 */
int32_t lv_image_get_scale_x(lv_obj_t * obj);

/**
 * Get the vertical zoom factor of the image.
 * @param obj       pointer to an image object
 * @return          zoom factor (256: no zoom)
 */
int32_t lv_image_get_scale_y(lv_obj_t * obj);

/**
 * Get the current blend mode of the image
 * @param obj       pointer to an image object
 * @return          the current blend mode
 */
lv_blend_mode_t lv_image_get_blend_mode(lv_obj_t * obj);

/**
 * Get whether the transformations (rotate, zoom) are anti-aliased or not
 * @param obj       pointer to an image object
 * @return          true: anti-aliased; false: not anti-aliased
 */
bool lv_image_get_antialias(lv_obj_t * obj);

/**
 * Get the size mode of the image
 * @param obj       pointer to an image object
 * @return          element of @ref lv_image_align_t
 */
lv_image_align_t lv_image_get_inner_align(lv_obj_t * obj);

/**
 * Get the bitmap mask source.
 * @param obj       pointer to an image object
 * @return          an lv_image_dsc_t bitmap mask source.
 */
const lv_image_dsc_t * lv_image_get_bitmap_map_src(lv_obj_t * obj);

/**********************
 *      MACROS
 **********************/

/** Use this macro to declare an image in a C file*/
#define LV_IMAGE_DECLARE(var_name) extern const lv_image_dsc_t var_name

#endif /*LV_USE_IMAGE*/

#ifdef __cplusplus
} /*extern "C"*/
#endif

#endif /*LV_IMAGE_H*/
```

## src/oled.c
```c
#include <zephyr/kernel.h> 
#include <zephyr/device.h>
#include <zephyr/devicetree.h>
#include <zephyr/drivers/display.h>
#include <zephyr/drivers/gpio.h>
#include <lvgl.h>
#include <stdio.h>
#include <string.h>

#include "oled.h"

#include <zephyr/logging/log.h>
LOG_MODULE_REGISTER(oled, 3);

#define LED0_NODE	DT_ALIAS(led0)
static const struct gpio_dt_spec led = GPIO_DT_SPEC_GET(LED0_NODE, gpios);
#define SW0_NODE	DT_ALIAS(sw0) 
static const struct gpio_dt_spec button = GPIO_DT_SPEC_GET(SW0_NODE, gpios);



static struct gpio_callback button_cb_data;


static const struct device * display_dev;


void display_timer_handler(struct k_timer * timer);
void display_task_handler(struct k_work * work);

K_TIMER_DEFINE(display_timer, display_timer_handler, NULL);

K_WORK_DEFINE(display_work, display_task_handler);

#define TICK_PERIOD   (1000)






typedef struct {
    lv_obj_t     ** object; 
    short         * value;
    short           step;
    short           max;
    short           min;
} param_t;

typedef struct {
    lv_obj_t * screen;
    int        count;
    param_t  * params;
} screens_t;


static lv_obj_t   * screen0_slider_obj;
static short        screen0_slider_value;
static param_t screen0_elements [] = {
    { .object = &screen0_slider_obj,  .value = &screen0_slider_value, .step = 5, .max = 100, .min = 0},
};
static screens_t screens [] = {
    { .screen = NULL, .count = 1, .params = screen0_elements }
};

void display_task_handler(struct k_work * work)
{  
    static int screen_id = 0;
    static int param_id  = 0;
    static short slider_val = 0;  
    gpio_pin_toggle_dt(&led);

    slider_val += 5;
    if(slider_val > 120) slider_val = 0;
    numeric_param_update(screen_id, param_id, slider_val);
    lv_task_handler();
}


void display_timer_handler(struct k_timer * timer)
{
    k_work_submit(&display_work);
}

void numeric_param_update(int screen_id, int param_id, short value)
{
    param_t * param = &screens[screen_id].params[param_id];

    if (param == NULL || *param->object == NULL)
        return;

    

    if (value <= param->min)  *param->value = param->min;
    else if ( value >  param->max)  *param->value = param->max; 
         else *param->value = value;

    if (lv_obj_check_type(*param->object, &lv_label_class)) {
        return;
    }

    if (lv_obj_check_type(*param->object, &lv_slider_class)) {
        lv_slider_set_value(*param->object, *param->value, LV_ANIM_OFF);
        LOG_INF("%s: value %d", __func__, lv_slider_get_value(*param->object));
        return;
    }
}

void display_param_update(int screen_id, int param_id, bool inc)
{
    param_t * param = &screens[screen_id].params[param_id];

    if (param == NULL || *param->object == NULL)
        return;

    if (inc) *param->value += param->step;
    else     *param->value -= param->step;

    if (*param->value <= param->min)  *param->value = param->min;
    if (*param->value >  param->max)  *param->value =0;// param->max;

    if (lv_obj_check_type(*param->object, &lv_label_class)) {
        static char value[4];
        snprintf(value, sizeof(value), "%u", *param->value);
        lv_label_set_text(*param->object, value);
        return;
    }

    if (lv_obj_check_type(*param->object, &lv_slider_class)) {
        lv_slider_set_value(*param->object, *param->value, LV_ANIM_OFF);
        LOG_INF("%s: value %d", __func__, lv_slider_get_value(*param->object));
        return;
    }
}
void display_screens_init(void)
{
    screens[0].screen = lv_obj_create(NULL);
    static lv_style_t style_main;
    static lv_style_t style_indicator;
     static lv_style_t style_knob;

    lv_style_init(&style_main);
    lv_style_set_text_color(&style_main, lv_color_black());
    lv_style_set_bg_color(&style_main, lv_color_white());

    lv_style_init(&style_indicator);
    lv_style_set_text_color(&style_indicator, lv_color_white());
    lv_style_set_bg_color(&style_indicator, lv_color_black());
    lv_style_set_border_width(&style_indicator, 2);
    lv_style_set_radius(&style_indicator, LV_RADIUS_CIRCLE);

    lv_style_init(&style_knob);
    lv_style_set_text_color(&style_knob, lv_color_black());
    lv_style_set_bg_color(&style_knob, lv_color_white());
    lv_style_set_border_width(&style_knob, 2);
    lv_style_set_radius(&style_knob, LV_RADIUS_CIRCLE);


    lv_scr_load(screens[0].screen);
    lv_obj_t * screen0_label = lv_label_create(lv_scr_act());
    lv_label_set_text(screen0_label, "Pg1");
    lv_obj_align_to(screen0_label, screens[0].screen, LV_ALIGN_TOP_RIGHT, 0, 0);

    screen0_slider_obj = lv_slider_create(lv_scr_act());
    lv_slider_set_mode(screen0_slider_obj, LV_SLIDER_MODE_NORMAL);
    lv_obj_add_style(screen0_slider_obj, &style_main, LV_PART_MAIN);
    lv_obj_add_style(screen0_slider_obj, &style_indicator, LV_PART_INDICATOR);
    lv_obj_add_style(screen0_slider_obj, &style_knob, LV_PART_KNOB);
    lv_obj_set_height(screen0_slider_obj, 8); 
    lv_obj_set_width(screen0_slider_obj, 110);    
    lv_slider_set_range(screen0_slider_obj, 0, 100);
    lv_slider_set_value(screen0_slider_obj, 60, LV_ANIM_OFF);
    screen0_slider_value = 55;

    lv_obj_align_to(screen0_slider_obj, NULL, LV_ALIGN_CENTER, 0, 0);
    

}


int display_init(void)
{


    int ret = 0;
    if (!device_is_ready(led.port)) {
        return 0;
	}

	if (!device_is_ready(button.port)) {
		return 0;
	}
	ret = gpio_pin_configure_dt(&led, GPIO_OUTPUT_ACTIVE);
	if (ret < 0) {
		return 0;
	}

	ret = gpio_pin_configure_dt(&button, GPIO_INPUT);
	if (ret < 0) {
		return 0;
	}

	ret = gpio_pin_interrupt_configure_dt(&button, GPIO_INT_EDGE_TO_ACTIVE );


    display_dev = device_get_binding(DT_NODE_FULL_NAME(DT_CHOSEN(zephyr_display)));
    if (display_dev == NULL) {
        LOG_ERR("Display device not found.");
        return -1;
    }
    LOG_INF("Display device init");
    display_screens_init();

    lv_scr_load(screens[0].screen);
    display_blanking_off(display_dev);
    k_timer_start(&display_timer, K_MSEC(TICK_PERIOD), K_MSEC(TICK_PERIOD));

    return 0;
}
```
